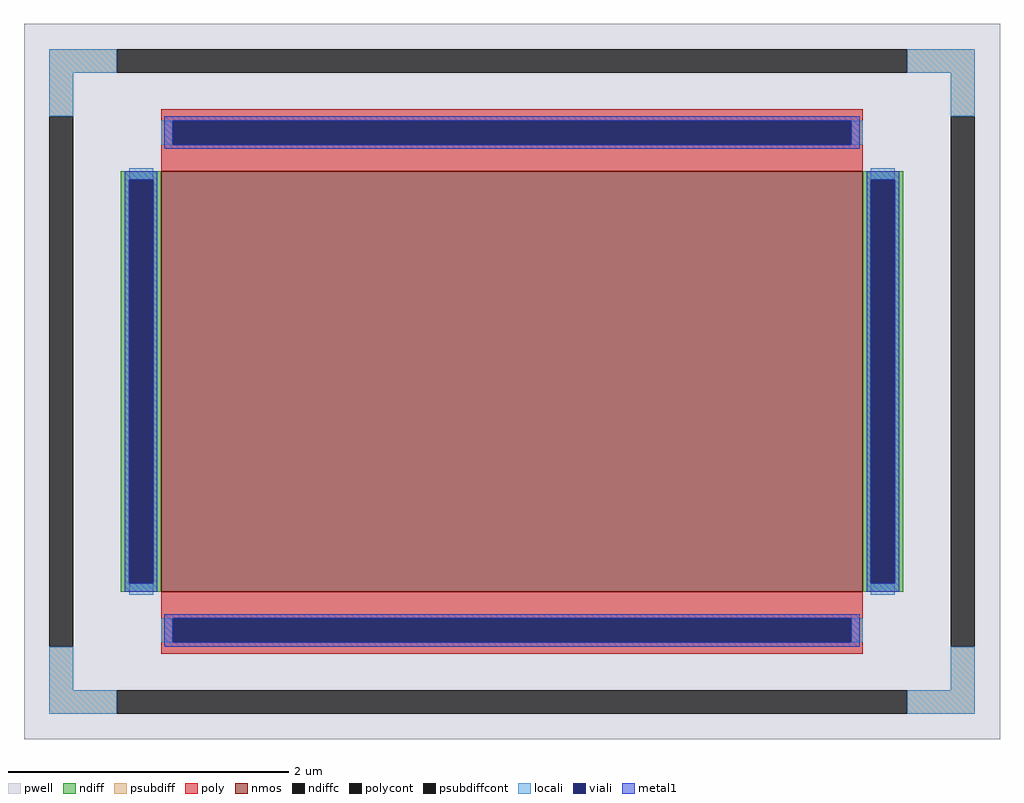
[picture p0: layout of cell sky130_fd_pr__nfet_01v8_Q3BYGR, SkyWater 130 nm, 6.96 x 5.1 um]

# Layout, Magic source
magic
tech sky130A
<< pwell >>
rect -348 -255 348 255
<< nmos >>
rect -250 -150 250 150
<< ndiff >>
rect -279 144 -250 150
rect -279 -144 -273 144
rect -256 -144 -250 144
rect -279 -150 -250 -144
rect 250 144 279 150
rect 250 -144 256 144
rect 273 -144 279 144
rect 250 -150 279 -144
<< ndiffc >>
rect -273 -144 -256 144
rect 256 -144 273 144
<< psubdiff >>
rect -330 220 -282 237
rect 282 220 330 237
rect -330 189 -313 220
rect 313 189 330 220
rect -330 -220 -313 -189
rect 313 -220 330 -189
rect -330 -237 -282 -220
rect 282 -237 330 -220
<< psubdiffcont >>
rect -282 220 282 237
rect -330 -189 -313 189
rect 313 -189 330 189
rect -282 -237 282 -220
<< poly >>
rect -250 186 250 194
rect -250 169 -242 186
rect 242 169 250 186
rect -250 150 250 169
rect -250 -169 250 -150
rect -250 -186 -242 -169
rect 242 -186 250 -169
rect -250 -194 250 -186
<< polycont >>
rect -242 169 242 186
rect -242 -186 242 -169
<< locali >>
rect -330 220 -282 237
rect 282 220 330 237
rect -330 189 -313 220
rect 313 189 330 220
rect -250 169 -242 186
rect 242 169 250 186
rect -273 144 -256 152
rect -273 -152 -256 -144
rect 256 144 273 152
rect 256 -152 273 -144
rect -250 -186 -242 -169
rect 242 -186 250 -169
rect -330 -220 -313 -189
rect 313 -220 330 -189
rect -330 -237 -282 -220
rect 282 -237 330 -220
<< viali >>
rect -242 169 242 186
rect -273 -144 -256 144
rect 256 -144 273 144
rect -242 -186 242 -169
<< metal1 >>
rect -248 186 248 189
rect -248 169 -242 186
rect 242 169 248 186
rect -248 166 248 169
rect -276 144 -253 150
rect -276 -144 -273 144
rect -256 -144 -253 144
rect -276 -150 -253 -144
rect 253 144 276 150
rect 253 -144 256 144
rect 273 -144 276 144
rect 253 -150 276 -144
rect -248 -169 248 -166
rect -248 -186 -242 -169
rect 242 -186 248 -169
rect -248 -189 248 -186
<< properties >>
string FIXED_BBOX -321 -228 321 228
string gencell sky130_fd_pr__nfet_01v8
string library sky130
string parameters w 3.0 l 5.0 m 1 nf 1 diffcov 100 polycov 100 guard 1 glc 1 grc 1 gtc 1 gbc 1 tbcov 100 rlcov 100 topc 1 botc 1 poverlap 0 doverlap 1 lmin 0.15 wmin 0.42 compatible {sky130_fd_pr__nfet_01v8 sky130_fd_pr__nfet_01v8_lvt  sky130_fd_bs_flash__special_sonosfet_star  sky130_fd_pr__nfet_g5v0d10v5 sky130_fd_pr__nfet_05v0_nvt  sky130_fd_pr__nfet_03v3_nvt} full_metal 1 viasrc 100 viadrn 100 viagate 100 viagb 0 viagr 0 viagl 0 viagt 0
<< end >>
